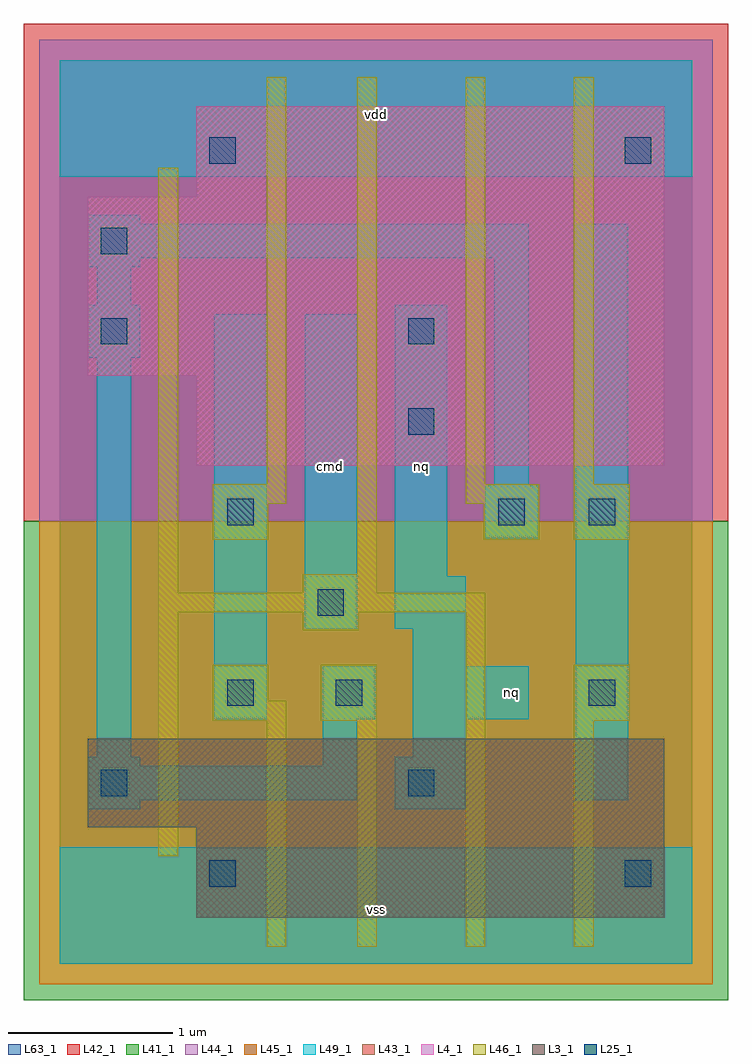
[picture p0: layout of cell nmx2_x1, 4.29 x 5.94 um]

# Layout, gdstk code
import gdstk
lib = gdstk.Library(unit=1e-6, precision=1e-09)
def R(c, l, rs):  # rectangles x0, y0, x1, y1
    for r in rs: c.add(gdstk.rectangle(r[:2], r[2:], *l))
L3_1 = (3, 1)
L4_1 = (4, 1)
L25_1 = (25, 1)
L41_1 = (41, 1)
L42_1 = (42, 1)
L43_1 = (43, 1)
L44_1 = (44, 1)
L45_1 = (45, 1)
L46_1 = (46, 1)
L49_1 = (49, 1)
L63_1 = (63, 1)

nmx2_x1 = lib.new_cell('nmx2_x1')
R(nmx2_x1, L3_1, [(0.83,0.28,3.68,0.83), (0.17,0.83,3.68,1.37)])
R(nmx2_x1, L4_1, [(0.83,3.03,3.68,3.58), (0.17,3.58,3.68,4.67), (0.83,4.67,3.68,5.22)])
R(nmx2_x1, L25_1, [(0.91,0.47,1.07,0.63), (3.44,0.47,3.6,0.63), (0.25,1.02,0.41,1.18), (2.12,1.02,2.28,1.18), (1.02,1.57,1.18,1.73), (1.68,1.57,1.84,1.73), (3.22,1.57,3.38,1.73), (1.57,2.12,1.73,2.28), (1.02,2.67,1.18,2.83), (2.67,2.67,2.83,2.83), (3.22,2.67,3.38,2.83), (2.12,3.22,2.28,3.38), (0.25,3.77,0.41,3.93), (2.12,3.77,2.28,3.93), (0.25,4.32,0.41,4.48), (0.91,4.87,1.07,5.03), (3.44,4.87,3.6,5.03)])
R(nmx2_x1, L41_1, [(-0.22,-0.22,4.07,2.695)])
R(nmx2_x1, L42_1, [(-0.22,2.695,4.07,5.72)])
R(nmx2_x1, L43_1, [(0.83,0.28,3.68,0.83), (0.17,0.83,3.68,1.37), (0.83,3.03,3.68,3.58), (0.17,3.58,3.68,4.67), (0.83,4.67,3.68,5.22)])
R(nmx2_x1, L44_1, [(-0.125,2.695,3.975,5.625)])
R(nmx2_x1, L45_1, [(-0.125,-0.125,3.975,2.695)])
R(nmx2_x1, L46_1, [(1.26,0.105,1.38,1.48), (1.81,0.105,1.93,1.48), (2.47,0.105,2.59,2.14), (3.13,0.105,3.25,1.48), (0.6,0.655,0.72,2.14), (0.93,1.48,1.38,1.6), (1.59,1.48,1.93,1.82), (3.13,1.48,3.47,1.82), (0.93,1.6,1.27,1.82), (1.48,2.03,1.82,2.14), (0.6,2.14,2.59,2.26), (0.6,2.26,0.72,4.845), (1.48,2.26,1.93,2.37), (1.81,2.37,1.93,5.395), (0.93,2.58,1.27,2.8), (2.58,2.58,2.92,2.8), (3.13,2.58,3.47,2.92), (0.93,2.8,1.38,2.92), (2.47,2.8,2.92,2.92), (1.26,2.92,1.38,5.395), (2.47,2.92,2.59,5.395), (3.13,2.92,3.25,5.395)])
R(nmx2_x1, L49_1, [(0,0,3.85,0.71), (0.17,0.94,0.49,0.995), (2.04,0.94,2.47,1.26), (0.17,0.995,1.81,1.205), (3.14,0.995,3.46,4.505), (0.17,1.205,0.49,1.26), (1.6,1.205,1.81,1.49), (0.225,1.26,0.435,3.69), (2.15,1.26,2.47,1.49), (0.94,1.49,1.26,3.955), (1.6,1.49,1.92,1.81), (2.15,1.49,2.855,1.81), (2.15,1.81,2.47,2.04), (1.49,2.04,1.81,3.955), (2.04,2.04,2.47,2.36), (2.04,2.36,2.36,4.01), (2.59,2.59,2.91,2.91), (2.645,2.91,2.855,4.295), (0.17,3.69,0.49,4.01), (0.225,4.01,0.435,4.24), (0.17,4.24,0.49,4.295), (0.17,4.295,2.855,4.505), (0.17,4.505,0.49,4.56), (0,4.79,3.85,5.5)])
R(nmx2_x1, L63_1, [(0,0,3.85,5.5)])
nmx2_x1.add(gdstk.Label('cmd', (1.65,3.025), layer=49, texttype=1))
nmx2_x1.add(gdstk.Label('cmd', (1.65,3.025), layer=49, texttype=1))
nmx2_x1.add(gdstk.Label('vss', (1.925,0.33), layer=49, texttype=1))
nmx2_x1.add(gdstk.Label('vss', (1.925,0.33), layer=49, texttype=1))
nmx2_x1.add(gdstk.Label('nq', (2.75,1.65), layer=49, texttype=1))
nmx2_x1.add(gdstk.Label('nq', (2.75,1.65), layer=49, texttype=1))
nmx2_x1.add(gdstk.Label('nq', (2.2,3.025), layer=49, texttype=1))
nmx2_x1.add(gdstk.Label('nq', (2.2,3.025), layer=49, texttype=1))
nmx2_x1.add(gdstk.Label('vdd', (1.925,5.17), layer=49, texttype=1))
nmx2_x1.add(gdstk.Label('vdd', (1.925,5.17), layer=49, texttype=1))

lib.write_gds('nmx2_x1.gds')
